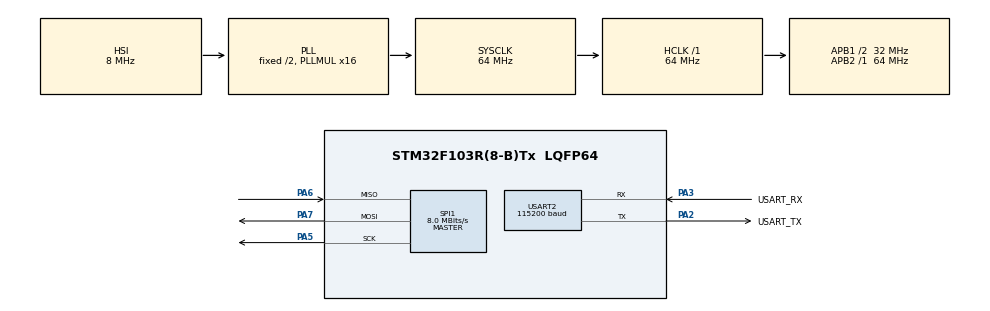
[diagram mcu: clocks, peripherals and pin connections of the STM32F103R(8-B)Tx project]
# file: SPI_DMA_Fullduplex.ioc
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Dma.Request0=SPI1_RX
Dma.Request1=SPI1_TX
Dma.SPI1_RX.0.Direction=DMA_PERIPH_TO_MEMORY
Dma.SPI1_RX.0.Instance=DMA1_Channel2
Dma.SPI1_RX.0.MemDataAlignment=DMA_MDATAALIGN_BYTE
Dma.SPI1_RX.0.MemInc=DMA_MINC_ENABLE
Dma.SPI1_RX.0.Mode=DMA_NORMAL
Dma.SPI1_RX.0.PeriphDataAlignment=DMA_PDATAALIGN_BYTE
Dma.SPI1_RX.0.PeriphInc=DMA_PINC_DISABLE
Dma.SPI1_RX.0.Priority=DMA_PRIORITY_HIGH
Dma.SPI1_TX.1.Direction=DMA_MEMORY_TO_PERIPH
Dma.SPI1_TX.1.Instance=DMA1_Channel3
Dma.SPI1_TX.1.MemDataAlignment=DMA_MDATAALIGN_BYTE
Dma.SPI1_TX.1.MemInc=DMA_MINC_ENABLE
Dma.SPI1_TX.1.Mode=DMA_NORMAL
Dma.SPI1_TX.1.PeriphDataAlignment=DMA_PDATAALIGN_BYTE
Dma.SPI1_TX.1.PeriphInc=DMA_PINC_DISABLE
Dma.SPI1_TX.1.Priority=DMA_PRIORITY_LOW
Mcu.Family=STM32F1
Mcu.Name=STM32F103R(8-B)Tx
Mcu.Package=LQFP64
NVIC.DMA1_Channel2_IRQn=true\:1\:0\:false\:false\:true\:true\:true\:true
NVIC.DMA1_Channel3_IRQn=true\:1\:0\:false\:false\:true\:true\:true\:true
NVIC.PriorityGroup=NVIC_PRIORITYGROUP_4
PA13.GPIO_Label=TMS
PA13.Mode=Serial_Wire
PA13.Signal=SYS_JTMS-SWDIO
PA14.GPIO_Label=TCK
PA14.Mode=Serial_Wire
PA14.Signal=SYS_JTCK-SWCLK
PA2.GPIO_Label=USART_TX
PA2.GPIO_Mode=GPIO_MODE_AF_PP
PA2.GPIO_PuPd=GPIO_NOPULL
PA2.GPIO_Speed=GPIO_SPEED_FREQ_LOW
PA2.Mode=Asynchronous
PA2.Signal=USART2_TX
PA3.GPIO_Label=USART_RX
PA3.GPIO_PuPd=GPIO_NOPULL
PA3.GPIO_Speed=GPIO_SPEED_FREQ_LOW
PA3.Mode=Asynchronous
PA3.Signal=USART2_RX
PA5.GPIO_Speed=GPIO_SPEED_FREQ_HIGH
PA5.Mode=Full_Duplex_Master
PA5.Signal=SPI1_SCK
PA6.Mode=Full_Duplex_Master
PA6.Signal=SPI1_MISO
PA7.GPIO_Speed=GPIO_SPEED_FREQ_HIGH
PA7.Mode=Full_Duplex_Master
PA7.Signal=SPI1_MOSI
PB3.GPIO_Label=SWO
PB3.Signal=SYS_JTDO-TRACESWO
PC14-OSC32_IN.Mode=LSE-External-Oscillator
PC14-OSC32_IN.Signal=RCC_OSC32_IN
PC15-OSC32_OUT.Mode=LSE-External-Oscillator
PC15-OSC32_OUT.Signal=RCC_OSC32_OUT
PD0-OSC_IN.Mode=HSE-External-Clock-Source
PD0-OSC_IN.Signal=RCC_OSC_IN
PD1-OSC_OUT.Mode=HSE-External-Clock-Source
PD1-OSC_OUT.Signal=RCC_OSC_OUT
ProjectManager.HeapSize=0x200
ProjectManager.StackSize=0x400
ProjectManager.TargetToolchain=STM32CubeIDE
RCC.AHBFreq_Value=64000000
RCC.APB1CLKDivider=RCC_HCLK_DIV2
RCC.APB1Freq_Value=32000000
RCC.APB1TimFreq_Value=64000000
RCC.APB2Freq_Value=64000000
RCC.APB2TimFreq_Value=64000000
RCC.HCLKFreq_Value=64000000
RCC.PLLMUL=RCC_PLL_MUL16
RCC.RTCClockSelection=RCC_RTCCLKSOURCE_LSE
RCC.SYSCLKFreq_VALUE=64000000
RCC.SYSCLKSource=RCC_SYSCLKSOURCE_PLLCLK
RCC.USBFreq_Value=64000000
SPI1.BaudRatePrescaler=SPI_BAUDRATEPRESCALER_8
SPI1.CalculateBaudRate=8.0 MBits/s
SPI1.Direction=SPI_DIRECTION_2LINES
SPI1.Mode=SPI_MODE_MASTER
SPI1.VirtualType=VM_MASTER
USART2.BaudRate=115200
USART2.VirtualMode=VM_ASYNC
board=NUCLEO-F103RB

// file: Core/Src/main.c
/* USER CODE BEGIN Header */
/**
 ******************************************************************************
 * @file           : main.c
 * @brief          : Main program body
 ******************************************************************************
 * @attention
 *
 * Copyright (c) 2026 STMicroelectronics.
 * All rights reserved.
 *
 * This software is licensed under terms that can be found in the LICENSE file
 * in the root directory of this software component.
 * If no LICENSE file comes with this software, it is provided AS-IS.
 *
 ******************************************************************************
 */
/**
 * 02_SPI_DMA_Fullduplex_c  —  [계층: HAL]  SPI1 전이중 DMA 전송 (루프백 시험)
 *
 * 배선: PA7 (MOSI) ---- 점퍼선 ---- PA6 (MISO)   (01_SPI_Loopback 과 동일)
 *
 * 동작
 *   - 512바이트를 SPI1(8MHz)로 송수신하는 동안 DMA 가 전송을 맡고, CPU 는 다른 일을 한 횟수(free_loops)를 센다.
 *   - 폴링 방식(HAL_SPI_TransmitReceive)과 소요 시간, CPU 여유를 비교하여 UART(115200)로 출력.
 *   - OLED/TFT/SD 카드처럼 큰 데이터를 SPI 로 보내는 장치에서 DMA 가 필수적인 이유를 보여준다.
 *
 * DMA 채널 매핑 (RM0008 13.3.7 DMA request mapping)
 *   SPI1_RX -> DMA1 채널2,  SPI1_TX -> DMA1 채널3
 *   SPI1->CR2.RXDMAEN / TXDMAEN 으로 DMA 요청 허용
 *   TX: 메모리->주변장치(SPI1->DR), RX: 주변장치->메모리, 메모리 주소만 증가, 바이트 단위
 *
 * ISR vs 콜백
 *   DMA1_Channel2_IRQHandler / DMA1_Channel3_IRQHandler (stm32f1xx_it.c, 진짜 ISR) -> HAL_DMA_IRQHandler()
 *     -> HAL_SPI_TxRxCpltCallback() (이 파일) : 송수신 모두 끝났을 때 1회 호출
 */
/* USER CODE END Header */
#include "main.h"

/* USER CODE BEGIN Includes */
#include <stdio.h>
#include <string.h>
/* USER CODE END Includes */

/* USER CODE BEGIN PD */
#define LEN 512

/* USER CODE END PD */

SPI_HandleTypeDef hspi1;
DMA_HandleTypeDef hdma_spi1_rx;
DMA_HandleTypeDef hdma_spi1_tx;
UART_HandleTypeDef huart2;

/* USER CODE BEGIN PV */
static uint8_t tx[LEN], rx[LEN];
static volatile uint8_t spi_done;
/* USER CODE END PV */

void SystemClock_Config(void);
static void MX_GPIO_Init(void);
static void MX_DMA_Init(void);
static void MX_SPI1_Init(void);
static void MX_USART2_UART_Init(void);

int main(void)
{

  /* MCU Configuration--------------------------------------------------------*/

  /* Reset of all peripherals, Initializes the Flash interface and the Systick. */
  HAL_Init();

  /* Configure the system clock */
  SystemClock_Config();

  /* Initialize all configured peripherals */
  MX_GPIO_Init();
  MX_DMA_Init();
  MX_SPI1_Init();
  MX_USART2_UART_Init();
  /* USER CODE BEGIN 2 */
  CoreDebug->DEMCR |= CoreDebug_DEMCR_TRCENA_Msk;
  DWT->CYCCNT = 0;
  DWT->CTRL |= DWT_CTRL_CYCCNTENA_Msk;

  for (int i = 0; i < LEN; i++) tx[i] = (uint8_t)(i ^ 0x5A);

  char msg[128];
  /* USER CODE END 2 */

  /* Infinite loop */
  while (1)
  {

    /* USER CODE BEGIN 3 */
    /* (1) 폴링: CPU 가 전송이 끝날 때까지 묶여 있음 */
    memset(rx, 0, sizeof rx);
    uint32_t t0 = DWT->CYCCNT;
    HAL_StatusTypeDef s1 = HAL_SPI_TransmitReceive(&hspi1, tx, rx, LEN, 200);
    uint32_t poll_cyc = DWT->CYCCNT - t0;
    int ok1 = (s1 == HAL_OK) && (memcmp(tx, rx, LEN) == 0);

    /* (2) DMA: 시작만 하고 CPU 는 다른 일 (여기서는 카운터 증가로 흉내) */
    memset(rx, 0, sizeof rx);
    spi_done = 0;
    uint32_t free_loops = 0;
    t0 = DWT->CYCCNT;
    if (HAL_SPI_TransmitReceive_DMA(&hspi1, tx, rx, LEN) != HAL_OK) Error_Handler();
    while (!spi_done) free_loops++;
    uint32_t dma_cyc = DWT->CYCCNT - t0;
    int ok2 = (memcmp(tx, rx, LEN) == 0);

    int n = snprintf(msg, sizeof msg, "poll=%lu us [%s]  DMA=%lu us [%s]  CPU free loops during DMA=%lu\r\n",
                     (unsigned long)(poll_cyc / 64), ok1 ? "PASS" : "FAIL",
                     (unsigned long)(dma_cyc / 64), ok2 ? "PASS" : "FAIL",
                     (unsigned long)free_loops);
    HAL_UART_Transmit(&huart2, (uint8_t *)msg, (uint16_t)n, 200);
    HAL_Delay(1000);
  }
  /* USER CODE END 3 */
}

void SystemClock_Config(void)
{
  RCC_OscInitTypeDef RCC_OscInitStruct = {0};
  RCC_ClkInitTypeDef RCC_ClkInitStruct = {0};

  /** Initializes the RCC Oscillators according to the specified parameters
  * in the RCC_OscInitTypeDef structure.
  */
  RCC_OscInitStruct.OscillatorType = RCC_OSCILLATORTYPE_HSI;
  RCC_OscInitStruct.HSIState = RCC_HSI_ON;
  RCC_OscInitStruct.HSICalibrationValue = RCC_HSICALIBRATION_DEFAULT;
  RCC_OscInitStruct.PLL.PLLState = RCC_PLL_ON;
  RCC_OscInitStruct.PLL.PLLSource = RCC_PLLSOURCE_HSI_DIV2;
  RCC_OscInitStruct.PLL.PLLMUL = RCC_PLL_MUL16;
  if (HAL_RCC_OscConfig(&RCC_OscInitStruct) != HAL_OK)
  {
    Error_Handler();
  }

  /** Initializes the CPU, AHB and APB buses clocks
  */
  RCC_ClkInitStruct.ClockType = RCC_CLOCKTYPE_HCLK|RCC_CLOCKTYPE_SYSCLK
                              |RCC_CLOCKTYPE_PCLK1|RCC_CLOCKTYPE_PCLK2;
  RCC_ClkInitStruct.SYSCLKSource = RCC_SYSCLKSOURCE_PLLCLK;
  RCC_ClkInitStruct.AHBCLKDivider = RCC_SYSCLK_DIV1;
  RCC_ClkInitStruct.APB1CLKDivider = RCC_HCLK_DIV2;
  RCC_ClkInitStruct.APB2CLKDivider = RCC_HCLK_DIV1;

  if (HAL_RCC_ClockConfig(&RCC_ClkInitStruct, FLASH_LATENCY_2) != HAL_OK)
  {
    Error_Handler();
  }
}

static void MX_GPIO_Init(void)
{

  /* GPIO Ports Clock Enable */
  __HAL_RCC_GPIOC_CLK_ENABLE();
  __HAL_RCC_GPIOD_CLK_ENABLE();
  __HAL_RCC_GPIOA_CLK_ENABLE();
  __HAL_RCC_GPIOB_CLK_ENABLE();

}

static void MX_DMA_Init(void)
{

  /* DMA controller clock enable */
  __HAL_RCC_DMA1_CLK_ENABLE();

  /* DMA interrupt init */
  /* DMA1_Channel2_IRQn interrupt configuration */
  HAL_NVIC_SetPriority(DMA1_Channel2_IRQn, 1, 0);
  HAL_NVIC_EnableIRQ(DMA1_Channel2_IRQn);
  /* DMA1_Channel3_IRQn interrupt configuration */
  HAL_NVIC_SetPriority(DMA1_Channel3_IRQn, 1, 0);
  HAL_NVIC_EnableIRQ(DMA1_Channel3_IRQn);

}

static void MX_SPI1_Init(void)
{

  /* SPI1 parameter configuration*/
  hspi1.Instance = SPI1;
  hspi1.Init.Mode = SPI_MODE_MASTER;
  hspi1.Init.Direction = SPI_DIRECTION_2LINES;
  hspi1.Init.DataSize = SPI_DATASIZE_8BIT;
  hspi1.Init.CLKPolarity = SPI_POLARITY_LOW;
  hspi1.Init.CLKPhase = SPI_PHASE_1EDGE;
  hspi1.Init.NSS = SPI_NSS_SOFT;
  hspi1.Init.BaudRatePrescaler = SPI_BAUDRATEPRESCALER_8;
  hspi1.Init.FirstBit = SPI_FIRSTBIT_MSB;
  hspi1.Init.TIMode = SPI_TIMODE_DISABLE;
  hspi1.Init.CRCCalculation = SPI_CRCCALCULATION_DISABLE;
  hspi1.Init.CRCPolynomial = 10;
  if (HAL_SPI_Init(&hspi1) != HAL_OK)
  {
    Error_Handler();
  }

}

static void MX_USART2_UART_Init(void)
{

  huart2.Instance = USART2;
  huart2.Init.BaudRate = 115200;
  huart2.Init.WordLength = UART_WORDLENGTH_8B;
  huart2.Init.StopBits = UART_STOPBITS_1;
  huart2.Init.Parity = UART_PARITY_NONE;
  huart2.Init.Mode = UART_MODE_TX_RX;
  huart2.Init.HwFlowCtl = UART_HWCONTROL_NONE;
  huart2.Init.OverSampling = UART_OVERSAMPLING_16;
  if (HAL_UART_Init(&huart2) != HAL_OK)
  {
    Error_Handler();
  }

}

/* USER CODE BEGIN 4 */
/* ------------------------------------------------------------------------- */
/* HAL 콜백 (ISR 아님): DMA 전이중 전송 완료                                     */
/* ------------------------------------------------------------------------- */
void HAL_SPI_TxRxCpltCallback(SPI_HandleTypeDef *hspi)
{
    if (hspi->Instance == SPI1) spi_done = 1;
}
/* USER CODE END 4 */

void Error_Handler(void)
{
  __disable_irq();
  while (1) {
  }
}
#ifdef USE_FULL_ASSERT
/**
  * @brief  Reports the name of the source file and the source line number
  *         where the assert_param error has occurred.
  * @param  file: pointer to the source file name
  * @param  line: assert_param error line source number
  * @retval None
  */
void assert_failed(uint8_t *file, uint32_t line)
{
  /* USER CODE BEGIN 6 */
  /* User can add his own implementation to report the file name and line
     number, ex: printf("Wrong parameters value: file %s on line %d\r\n", file,
     line) */
  /* USER CODE END 6 */
}
#endif /* USE_FULL_ASSERT */
